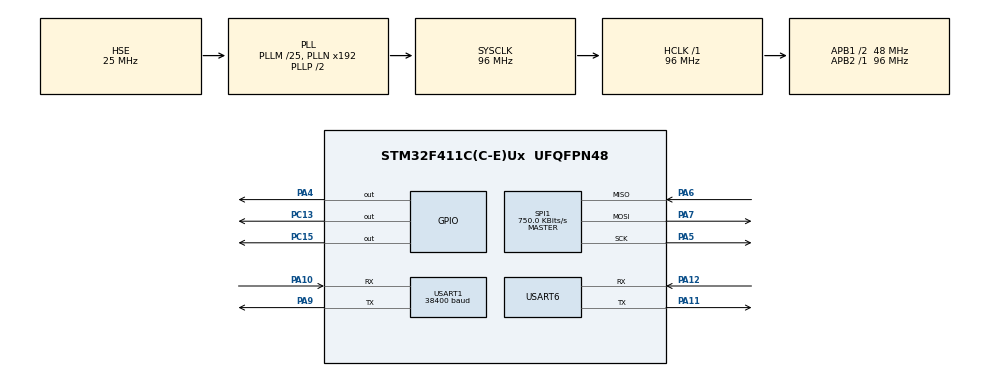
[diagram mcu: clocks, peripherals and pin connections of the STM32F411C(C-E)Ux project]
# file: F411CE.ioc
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FREERTOS.Tasks01=defaultTask,24,400,StartDefaultTask,Default,NULL,Dynamic,NULL,NULL
FREERTOS.configMINIMAL_STACK_SIZE=400
FREERTOS.configUSE_NEWLIB_REENTRANT=1
Mcu.Family=STM32F4
Mcu.Name=STM32F411C(C-E)Ux
Mcu.Package=UFQFPN48
NVIC.PriorityGroup=NVIC_PRIORITYGROUP_4
NVIC.TIM1_UP_TIM10_IRQn=true\:15\:0\:false\:false\:true\:false\:false\:true\:true
NVIC.TimeBase=TIM1_UP_TIM10_IRQn
NVIC.TimeBaseIP=TIM1
NVIC.USART1_IRQn=true\:5\:0\:false\:false\:true\:true\:true\:true\:true
PA10.Mode=Asynchronous
PA10.Signal=USART1_RX
PA11.Mode=Asynchronous
PA11.Signal=USART6_TX
PA12.Mode=Asynchronous
PA12.Signal=USART6_RX
PA4.Signal=GPIO_Output
PA5.Mode=Full_Duplex_Master
PA5.Signal=SPI1_SCK
PA6.Mode=Full_Duplex_Master
PA6.Signal=SPI1_MISO
PA7.Mode=Full_Duplex_Master
PA7.Signal=SPI1_MOSI
PA9.Mode=Asynchronous
PA9.Signal=USART1_TX
PC13-ANTI_TAMP.Signal=GPIO_Output
PC15-OSC32_OUT.Signal=GPIO_Output
PH0\ -\ OSC_IN.Mode=HSE-External-Oscillator
PH0\ -\ OSC_IN.Signal=RCC_OSC_IN
PH1\ -\ OSC_OUT.Mode=HSE-External-Oscillator
PH1\ -\ OSC_OUT.Signal=RCC_OSC_OUT
ProjectManager.HeapSize=0x200
ProjectManager.StackSize=0x400
ProjectManager.TargetToolchain=STM32CubeIDE
RCC.48MHZClocksFreq_Value=48000000
RCC.AHBFreq_Value=96000000
RCC.APB1CLKDivider=RCC_HCLK_DIV2
RCC.APB1Freq_Value=48000000
RCC.APB1TimFreq_Value=96000000
RCC.APB2Freq_Value=96000000
RCC.APB2TimFreq_Value=96000000
RCC.CortexFreq_Value=96000000
RCC.HCLKFreq_Value=96000000
RCC.HSE_VALUE=25000000
RCC.HSI_VALUE=16000000
RCC.LSE_VALUE=32768
RCC.PLLM=25
RCC.PLLSourceVirtual=RCC_PLLSOURCE_HSE
RCC.SYSCLKFreq_VALUE=96000000
RCC.SYSCLKSource=RCC_SYSCLKSOURCE_PLLCLK
RCC.VCOOutputFreq_Value=192000000
SPI1.BaudRatePrescaler=SPI_BAUDRATEPRESCALER_128
SPI1.CalculateBaudRate=750.0 KBits/s
SPI1.Direction=SPI_DIRECTION_2LINES
SPI1.Mode=SPI_MODE_MASTER
SPI1.VirtualType=VM_MASTER
USART1.BaudRate=38400
USART1.VirtualMode=VM_ASYNC
USART6.VirtualMode=VM_ASYNC
VP_FREERTOS_VS_CMSIS_V2.Mode=CMSIS_V2
VP_SYS_VS_tim1.Mode=TIM1
board=custom

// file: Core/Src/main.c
/* USER CODE BEGIN Header */
/**
 ******************************************************************************
 * @file           : main.c
 * @brief          : Main program body
 ******************************************************************************
 * @attention
 *
 * 14.02.25 by Kurein M.N.
 *
 * v.
 *
 ******************************************************************************
 */
/* USER CODE END Header */
/*#include "../Inc/main.h"*/
#include "main.h"
#include "cmsis_os.h"

/* USER CODE BEGIN Includes */
#include "DataFile.h"
#include "FreeRTOS.h"
#include "crc16.h"
#include "fram.h"
#include "queue.h"
#include "stm32f4xx_hal.h"
#include "task.h"
#include "uart.h"

/* USER CODE END Includes */

/* USER CODE BEGIN PD */

volatile uint32_t last_rx_time; // Time of last received byte
extern volatile char uart1_rx_buf[UART_BUF_SIZE];
fram_t fram;
fram_cfg_t cfgFRAM;
QueueHandle_t uartQueue;

osThreadId_t LedTaskHandle, Uart1TaskHandle;

/* USER CODE END PD */

SPI_HandleTypeDef hspi1;

UART_HandleTypeDef huart1;
UART_HandleTypeDef huart6;

/* Definitions for defaultTask */
osThreadId_t defaultTaskHandle;
const osThreadAttr_t defaultTask_attributes = {
    .name = "defaultTask",
    .stack_size = 2048,
    .priority = (osPriority_t)osPriorityNormal,
};
/* USER CODE BEGIN PV */
const osThreadAttr_t LedTask_attributes = {
    .name = "LedTask",
    .stack_size = 512,
    .priority = (osPriority_t)osPriorityNormal,
};

const osThreadAttr_t Uart1Task_attributes = {
    .name = "Uart1Task",
    .stack_size = 2048,
    .priority = (osPriority_t)osPriorityAboveNormal,
};

/* USER CODE END PV */

void SystemClock_Config(void);
static void MX_GPIO_Init(void);
static void MX_USART1_UART_Init(void);
static void MX_SPI1_Init(void);
static void MX_USART6_UART_Init(void);
void StartDefaultTask(void *argument);

/* USER CODE BEGIN PFP */
void LedTask(void *argument);
void Uart1Task(void *argument);
/* USER CODE END PFP */

/* USER CODE BEGIN 0 */
void LedTask(void *pvParameters) {
  while (1) {
    HAL_GPIO_TogglePin(GPIOC, GPIO_PIN_13);
    vTaskDelay(pdMS_TO_TICKS(2000));
  }
}

void Uart1Task(void *pvParameters) {
  uint8_t command[UART_BUF_SIZE];
  uint8_t ok[2] = {ID_BU, 0x00};
  uint8_t *ok_ptr;
  uint8_t index = 0;
  uint16_t crc = 0;
  char receivedChar;
  char wr_data[7] = {'K', 'U', 'R', 'E', 'I', 'N'};
  char rd_data[7] = {0};
  uart1_put_ch('S'); // Сигнал о запуске задачи

  while (1) {
    HAL_GPIO_TogglePin(GPIOC, GPIO_PIN_15);

    // Waiting for a byte from the queue
    if (xQueueReceive(uartQueue, &receivedChar, pdMS_TO_TICKS(2)) == pdPASS) {
      if (index < UART_BUF_SIZE) {
        command[index++] = receivedChar;
      }
    }

    uint32_t current_time = xTaskGetTickCount();
    uint32_t diff = current_time - last_rx_time;

    if (index > 0 && diff > pdMS_TO_TICKS(UART_TIMEOUT_MS)) {
      crc = process_crc(command, index, true);

      if (crc == 1) {
        switch (command[0]) {
        case 0x70:
          if (command[1] == 0) {
            HAL_GPIO_WritePin(GPIOC, GPIO_PIN_13, GPIO_PIN_SET);
          }
          if (command[1] == 1) {
            HAL_GPIO_WritePin(GPIOC, GPIO_PIN_13, GPIO_PIN_RESET);
          }
          break;

        case 2:
          if (command[1] == 0) {
            fram_write(&fram, 0x0150, (uint8_t *)wr_data, sizeof(wr_data));
            HAL_Delay(1000);
            fram_read(&fram, 0x0150, (uint8_t *)rd_data, sizeof(wr_data));
          }
          break;
        }
      }
      ok_ptr = calculate_crc_for_2_bytes(ok);
      for (int i = 0; i < 4; i++) {
        uart1_put_ch(ok_ptr[i]);
      }
      ok_ptr = calculate_crc_for_2_bytes(ok);
      for (int i = 0; i < 4; i++) {
        uart6_put_ch(ok_ptr[i]);
      }

      while (uxQueueMessagesWaiting(uartQueue) > 0) {
        char discardChar;
        xQueueReceive(uartQueue, &discardChar, 0);
      }
      index = 0;
    }
    vTaskDelay(pdMS_TO_TICKS(3));
  }
}

/* USER CODE END 0 */

int main(void) {

  /* USER CODE BEGIN 1 */
  last_rx_time = 0;

  uint32_t reset_cause = RCC->CSR;
  RCC->CSR |= RCC_CSR_RMVF;
  /* USER CODE END 1 */

  /* MCU Configuration--------------------------------------------------------*/

  /* Reset of all peripherals, Initializes the Flash interface and the Systick.
   */
  HAL_Init();

  /* Configure the system clock */
  SystemClock_Config();

  /* Initialize all configured peripherals */
  MX_GPIO_Init();
  MX_USART1_UART_Init();
  MX_SPI1_Init();
  MX_USART6_UART_Init();
  /* USER CODE BEGIN 2 */
  RCC->CSR |= RCC_CSR_RMVF;
  log_printf("Rst:0x%08lX\r\n", reset_cause);
  HAL_Delay(1000);
  log_printf("Main started, time: %lu ms\r\n", HAL_GetTick());

  fram_cfg_setup(&cfgFRAM);
  fram_init(&fram, &cfgFRAM);
  /* USER CODE END 2 */

  /* Init scheduler */
  osKernelInitialize();

  /* USER CODE BEGIN RTOS_QUEUES */
  /* add queues, ... */
  uartQueue = xQueueCreate(40, sizeof(char));
  if (uartQueue == NULL) {
    Error_Handler(); // Ошибка создания очереди
  }
  /* USER CODE END RTOS_QUEUES */

  /* Create the thread(s) */
  /* creation of defaultTask */
  defaultTaskHandle =
      osThreadNew(StartDefaultTask, NULL, &defaultTask_attributes);

  /* USER CODE BEGIN RTOS_THREADS */
  LedTaskHandle = osThreadNew(LedTask, NULL, &LedTask_attributes);

  Uart1TaskHandle = osThreadNew(Uart1Task, NULL, &Uart1Task_attributes);
  if (Uart1TaskHandle == NULL) {
    uart1_put_ch('E');
    Error_Handler();
  }
  /* USER CODE END RTOS_THREADS */

  /* Start scheduler */
  osKernelStart();

  /* We should never get here as control is now taken by the scheduler */

  /* Infinite loop */
  while (1) {

  }
}

void SystemClock_Config(void) {
  RCC_OscInitTypeDef RCC_OscInitStruct = {0};
  RCC_ClkInitTypeDef RCC_ClkInitStruct = {0};

  /** Configure the main internal regulator output voltage
   */
  __HAL_RCC_PWR_CLK_ENABLE();
  __HAL_PWR_VOLTAGESCALING_CONFIG(PWR_REGULATOR_VOLTAGE_SCALE1);

  /** Initializes the RCC Oscillators according to the specified parameters
   * in the RCC_OscInitTypeDef structure.
   */
  RCC_OscInitStruct.OscillatorType = RCC_OSCILLATORTYPE_HSE;
  RCC_OscInitStruct.HSEState = RCC_HSE_ON;
  RCC_OscInitStruct.PLL.PLLState = RCC_PLL_ON;
  RCC_OscInitStruct.PLL.PLLSource = RCC_PLLSOURCE_HSE;
  RCC_OscInitStruct.PLL.PLLM = 25;
  RCC_OscInitStruct.PLL.PLLN = 192;
  RCC_OscInitStruct.PLL.PLLP = RCC_PLLP_DIV2;
  RCC_OscInitStruct.PLL.PLLQ = 4;
  if (HAL_RCC_OscConfig(&RCC_OscInitStruct) != HAL_OK) {
    Error_Handler();
  }

  /** Initializes the CPU, AHB and APB buses clocks
   */
  RCC_ClkInitStruct.ClockType = RCC_CLOCKTYPE_HCLK | RCC_CLOCKTYPE_SYSCLK |
                                RCC_CLOCKTYPE_PCLK1 | RCC_CLOCKTYPE_PCLK2;
  RCC_ClkInitStruct.SYSCLKSource = RCC_SYSCLKSOURCE_PLLCLK;
  RCC_ClkInitStruct.AHBCLKDivider = RCC_SYSCLK_DIV1;
  RCC_ClkInitStruct.APB1CLKDivider = RCC_HCLK_DIV2;
  RCC_ClkInitStruct.APB2CLKDivider = RCC_HCLK_DIV1;

  if (HAL_RCC_ClockConfig(&RCC_ClkInitStruct, FLASH_LATENCY_3) != HAL_OK) {
    Error_Handler();
  }
}

static void MX_SPI1_Init(void) {

  /* SPI1 parameter configuration*/
  hspi1.Instance = SPI1;
  hspi1.Init.Mode = SPI_MODE_MASTER;
  hspi1.Init.Direction = SPI_DIRECTION_2LINES;
  hspi1.Init.DataSize = SPI_DATASIZE_8BIT;
  hspi1.Init.CLKPolarity = SPI_POLARITY_LOW;
  hspi1.Init.CLKPhase = SPI_PHASE_1EDGE;
  hspi1.Init.NSS = SPI_NSS_SOFT;
  hspi1.Init.BaudRatePrescaler = SPI_BAUDRATEPRESCALER_128;
  hspi1.Init.FirstBit = SPI_FIRSTBIT_MSB;
  hspi1.Init.TIMode = SPI_TIMODE_DISABLE;
  hspi1.Init.CRCCalculation = SPI_CRCCALCULATION_DISABLE;
  hspi1.Init.CRCPolynomial = 10;
  if (HAL_SPI_Init(&hspi1) != HAL_OK) {
    Error_Handler();
  }
}

static void MX_USART1_UART_Init(void) {

  huart1.Instance = USART1;
  huart1.Init.BaudRate = 38400;
  huart1.Init.WordLength = UART_WORDLENGTH_8B;
  huart1.Init.StopBits = UART_STOPBITS_1;
  huart1.Init.Parity = UART_PARITY_NONE;
  huart1.Init.Mode = UART_MODE_TX_RX;
  huart1.Init.HwFlowCtl = UART_HWCONTROL_NONE;
  huart1.Init.OverSampling = UART_OVERSAMPLING_16;
  if (HAL_UART_Init(&huart1) != HAL_OK) {
    Error_Handler();
  }
  /* USER CODE BEGIN USART1_Init 2 */

  /* Enable UART interrupts for receiving data */
  HAL_UART_Receive_IT(&huart1, (uint8_t *)&uart1_rx_buf[0], 1);

  /* USER CODE END USART1_Init 2 */
}

static void MX_USART6_UART_Init(void) {

  huart6.Instance = USART6;
  huart6.Init.BaudRate = 115200;
  huart6.Init.WordLength = UART_WORDLENGTH_8B;
  huart6.Init.StopBits = UART_STOPBITS_1;
  huart6.Init.Parity = UART_PARITY_NONE;
  huart6.Init.Mode = UART_MODE_TX_RX;
  huart6.Init.HwFlowCtl = UART_HWCONTROL_NONE;
  huart6.Init.OverSampling = UART_OVERSAMPLING_16;
  if (HAL_UART_Init(&huart6) != HAL_OK) {
    Error_Handler();
  }
}

static void MX_GPIO_Init(void) {
  GPIO_InitTypeDef GPIO_InitStruct = {0};

  /* GPIO Ports Clock Enable */
  __HAL_RCC_GPIOC_CLK_ENABLE();
  __HAL_RCC_GPIOH_CLK_ENABLE();
  __HAL_RCC_GPIOA_CLK_ENABLE();

  /*Configure GPIO pin Output Level */
  HAL_GPIO_WritePin(GPIOC, GPIO_PIN_13 | GPIO_PIN_15, GPIO_PIN_RESET);

  /*Configure GPIO pin Output Level */
  HAL_GPIO_WritePin(GPIOA, GPIO_PIN_4, GPIO_PIN_RESET);

  /*Configure GPIO pins : PC13 PC15 */
  GPIO_InitStruct.Pin = GPIO_PIN_13 | GPIO_PIN_15;
  GPIO_InitStruct.Mode = GPIO_MODE_OUTPUT_PP;
  GPIO_InitStruct.Pull = GPIO_NOPULL;
  GPIO_InitStruct.Speed = GPIO_SPEED_FREQ_LOW;
  HAL_GPIO_Init(GPIOC, &GPIO_InitStruct);

  /*Configure GPIO pin : PA4 */
  GPIO_InitStruct.Pin = GPIO_PIN_4;
  GPIO_InitStruct.Mode = GPIO_MODE_OUTPUT_PP;
  GPIO_InitStruct.Pull = GPIO_NOPULL;
  GPIO_InitStruct.Speed = GPIO_SPEED_FREQ_LOW;
  HAL_GPIO_Init(GPIOA, &GPIO_InitStruct);

}

void StartDefaultTask(void *argument) {
  /* USER CODE BEGIN 5 */
  printf_uart3("Default Task running...\r\n");
  uint32_t diag_divider = 0;
  for (;;) {
    vTaskDelay(pdMS_TO_TICKS(1000));
    printf_uart3("Tick:%lu\r\n", HAL_GetTick());

    if (++diag_divider >= 5) {
      diag_divider = 0;

      size_t free_heap = xPortGetFreeHeapSize();
      size_t min_heap = xPortGetMinimumEverFreeHeapSize();
      size_t total_heap = (size_t)configTOTAL_HEAP_SIZE;
      UBaseType_t dflt_stack =
          uxTaskGetStackHighWaterMark((TaskHandle_t)defaultTaskHandle);
      UBaseType_t led_stack =
          uxTaskGetStackHighWaterMark((TaskHandle_t)LedTaskHandle);
      UBaseType_t uart_stack =
          uxTaskGetStackHighWaterMark((TaskHandle_t)Uart1TaskHandle);
      size_t dflt_stack_b = ((size_t)dflt_stack) * sizeof(StackType_t);
      size_t led_stack_b = ((size_t)led_stack) * sizeof(StackType_t);
      size_t uart_stack_b = ((size_t)uart_stack) * sizeof(StackType_t);
      size_t dflt_total_b = (size_t)defaultTask_attributes.stack_size;
      size_t led_total_b = (size_t)LedTask_attributes.stack_size;
      size_t uart_total_b = (size_t)Uart1Task_attributes.stack_size;
      unsigned int heap_used_pct =
          (total_heap > 0U)
              ? (unsigned int)(((total_heap - free_heap) * 100U) / total_heap)
              : 0U;
      unsigned int heap_peak_used_pct =
          (total_heap > 0U)
              ? (unsigned int)(((total_heap - min_heap) * 100U) / total_heap)
              : 0U;
      unsigned int dflt_used_pct =
          (dflt_total_b > 0U)
              ? (unsigned int)(((dflt_total_b - dflt_stack_b) * 100U) /
                               dflt_total_b)
              : 0U;
      unsigned int led_used_pct =
          (led_total_b > 0U)
              ? (unsigned int)(((led_total_b - led_stack_b) * 100U) /
                               led_total_b)
              : 0U;
      unsigned int uart_used_pct =
          (uart_total_b > 0U)
              ? (unsigned int)(((uart_total_b - uart_stack_b) * 100U) /
                               uart_total_b)
              : 0U;

      printf_uart3("HeapB F:%u Min:%u Tot:%u\r\n", (unsigned int)free_heap,
                   (unsigned int)min_heap, (unsigned int)total_heap);
      printf_uart3("HeapU now:%u%% peak:%u%%\r\n", heap_used_pct,
                   heap_peak_used_pct);
      printf_uart3("StkB free D:%u L:%u U:%u\r\n", (unsigned int)dflt_stack_b,
                   (unsigned int)led_stack_b, (unsigned int)uart_stack_b);
      printf_uart3("StkU %% D:%u L:%u U:%u\r\n", dflt_used_pct, led_used_pct,
                   uart_used_pct);
    }
  }

  /* USER CODE END 5 */
}

void HAL_TIM_PeriodElapsedCallback(TIM_HandleTypeDef *htim) {
  if (htim->Instance == TIM1) {
    HAL_IncTick();
  }
}

void Error_Handler(void) {
  __disable_irq();
  while (1) {
  }
}

#ifdef USE_FULL_ASSERT
/**
 * @brief  Reports the name of the source file and the source line number
 *         where the assert_param error has occurred.
 * @param  file: pointer to the source file name
 * @param  line: assert_param error line source number
 * @retval None
 */
void assert_failed(uint8_t *file, uint32_t line) {
  /* USER CODE BEGIN 6 */
  /* User can add his own implementation to report the file name and line
     number, ex: printf("Wrong parameters value: file %s on line %d\r\n", file,
     line) */
  /* USER CODE END 6 */
}
#endif /* USE_FULL_ASSERT */
